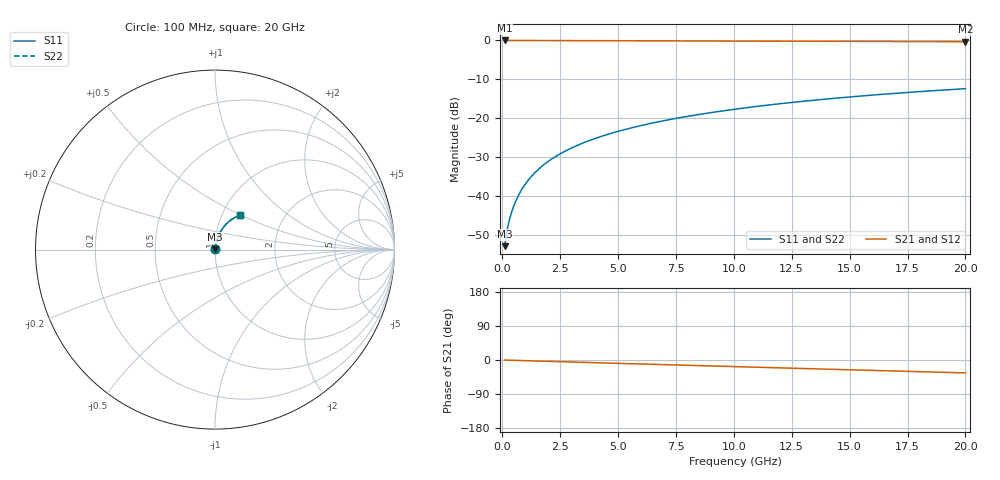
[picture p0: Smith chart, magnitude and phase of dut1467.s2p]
! Touchstone file exported from HFSS 2026.1.0
!  File:  C:/ffzhzh/LocalFiles/Ansys_Project_Files/temp_train_TMRDL_1467_1783167466_43440.aedt
!  Generated:  08:19:04 PM Jul  4, 2026
!  Design:  TMRDL
!  Project:  temp_train_TMRDL_1467_1783167466_43440
! Variables:
!  h_bsmrdl = 2um
!  h_ox = 20um
!  h_rdl = 5um
!  h_sub = 80um
!  h_tmrdl = 4.83um
!  h_tsv = 80um
!  h_via = 3um
!  l_bsmrdl = 300um
!  l_sub = 928.79um
!  l_tmrdl = 528.79um
!  m_sub = 200um
!  pitch = 48.93um
!  r_tsv = 6um
!  s_tmrdl = 10um
!  w_bsmrdl = 18um
!  w_sub = 500um
!  w_tmrdl = 29.2um
!  x_tsv_center1 = 543.39um
!  x_tsv_center2 = 861.39um
!  x_tsv_center3 = 1419.38um
!  x_tsv_center4 = 1737.38um
!  x_tsv_center5 = 2295.37um
!  x_tsv_center6 = 2613.37um
# GHz S MA R 50.000000
! Terminal data exported
! Port[1] = TM_RDL1_1_T1
! Port[2] = TM_RDL1_1_T2
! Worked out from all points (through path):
!   200 points, 100 MHz to 20 GHz, reference 50 ohm
!   highest |S21| = -0.01 dB at 100 MHz (marker M1); lowest = -0.3 dB at 20 GHz (marker M2)
!   group delay of S21, straight-line fit = 4.73 ps
!   lowest |S11| = -53.0 dB at 100 MHz (marker M3), VSWR 1.00, Z = 50.2 + j0.161 ohm
!   |S11| at or under -10 dB: start of sweep to end of sweep
!   |S22| runs from -53.0 to -12.4 dB; largest |S21 - S12| = 4e-15
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0.1  0.002244 45.6  0.9984 -0.2  0.9984 -0.2  0.002244 45.6
! Gamma 0 0 0 0
! Port Impedance 50 0 50 0
0.2  0.003516 60.2  0.9983 -0.4  0.9983 -0.4  0.003516 60.2
0.3  0.004808 67.0  0.9982 -0.6  0.9982 -0.6  0.004808 67.0
0.4  0.006116 71.1  0.9981 -0.7  0.9981 -0.7  0.006116 71.1
0.5  0.007442 73.9  0.998 -0.9  0.998 -0.9  0.007442 73.9
0.6  0.008784 75.8  0.998 -1.1  0.998 -1.1  0.008784 75.8
0.8  0.0115 78.2  0.9979 -1.4  0.9979 -1.4  0.0115 78.2
1.1  0.0156 80.0  0.9977 -2.0  0.9977 -2.0  0.0156 80.0
1.5  0.02109 80.9  0.9974 -2.7  0.9974 -2.7  0.02109 80.9
1.8  0.02519 81.1  0.9972 -3.2  0.9972 -3.2  0.02519 81.1
2.1  0.02927 81.0  0.9969 -3.8  0.9969 -3.8  0.02927 81.0
2.7  0.03736 80.5  0.9963 -4.8  0.9963 -4.8  0.03736 80.5
3.5  0.048 79.6  0.9953 -6.2  0.9953 -6.2  0.048 79.6
4.2  0.05717 78.6  0.9944 -7.5  0.9944 -7.5  0.05717 78.6
5  0.06751 77.4  0.9933 -8.8  0.9933 -8.8  0.06751 77.4
5.9  0.079 76.1  0.992 -10.4  0.992 -10.4  0.079 76.1
6.8  0.09034 74.7  0.9906 -12.0  0.9906 -12.0  0.09034 74.7
8.3  0.1089 72.4  0.9882 -14.5  0.9882 -14.5  0.1089 72.4
10.1  0.1308 69.6  0.9849 -17.6  0.9849 -17.6  0.1307 69.5
13.4  0.1692 64.3  0.9782 -23.2  0.9782 -23.2  0.1692 64.3
16.7  0.2054 59.1  0.9705 -28.7  0.9705 -28.7  0.2054 59.1
20  0.239 53.9  0.9623 -34.1  0.9623 -34.1  0.239 53.9
